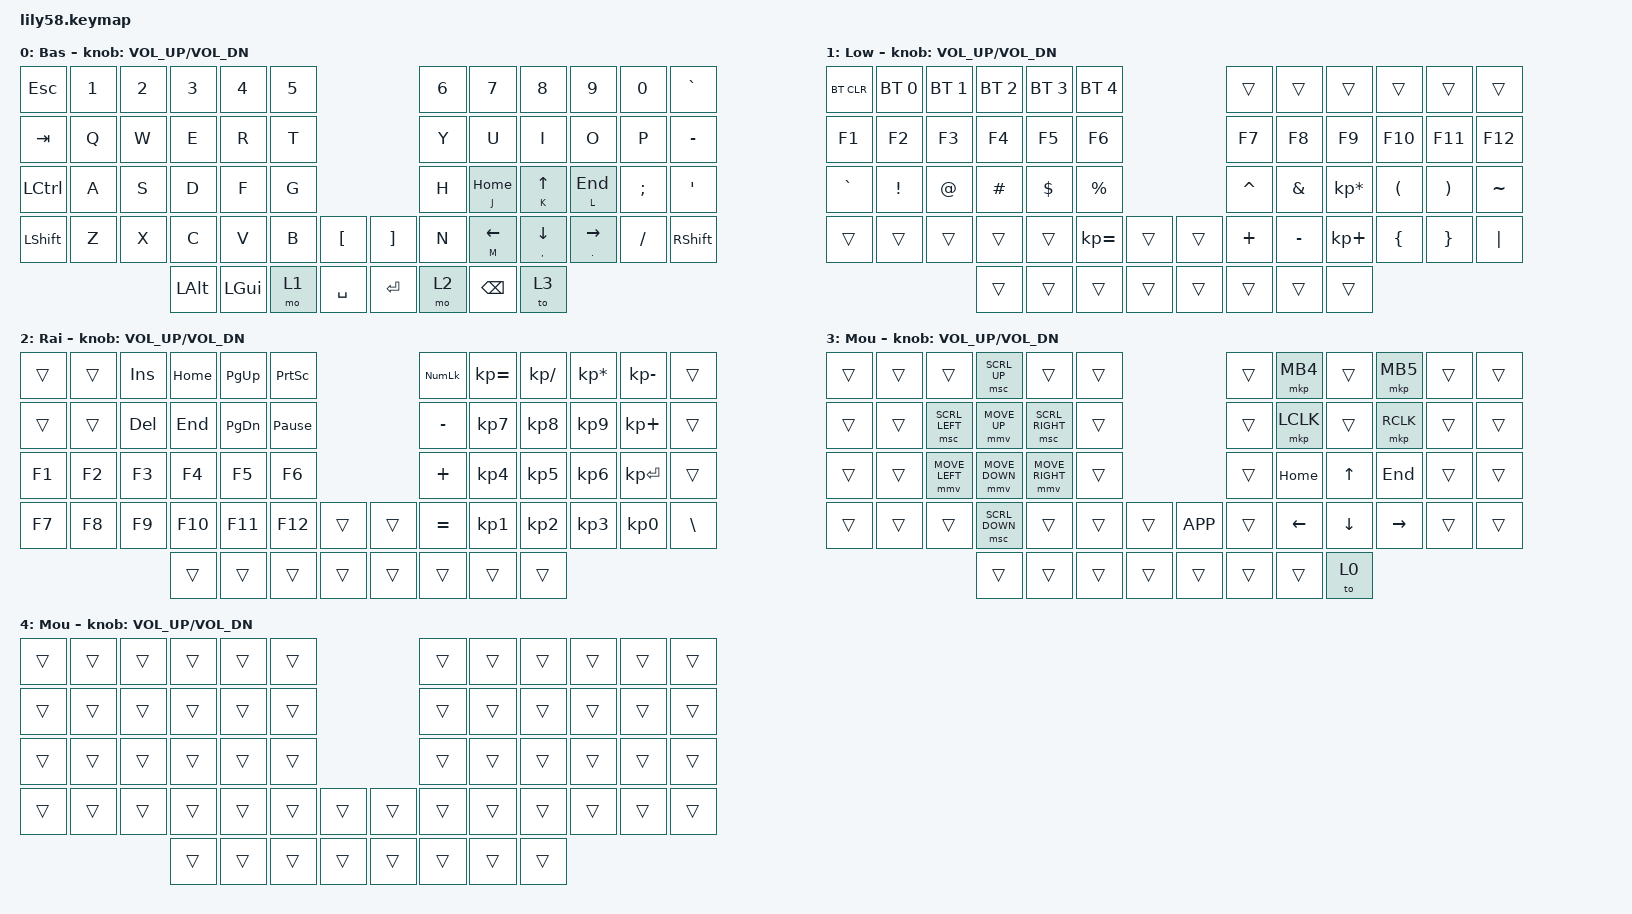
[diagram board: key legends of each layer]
/*
 * Copyright (c) 2020 The ZMK Contributors
 *
 * SPDX-License-Identifier: MIT
 */

#define ZMK_POINTING_DEFAULT_MOVE_VAL 1500
#define ZMK_POINTING_DEFAULT_SCRL_VAL 20

#include <behaviors.dtsi>
#include <dt-bindings/zmk/bt.h>
#include <dt-bindings/zmk/keys.h>
#include <dt-bindings/zmk/pointing.h>

/ {
    keymap {
        compatible = "zmk,keymap";

        default_layer {
            // ------------------------------------------------------------------------------------------------------------
            // |  ESC  |  1  |  2  |  3   |  4   |  5   |                   |  6   |  7    |  8    |  9   |   0   |   `   |
            // |  TAB  |  Q  |  W  |  E   |  R   |  T   |                   |  Y   |  U    |  I    |  O   |   P   |   -   |
            // |  CTRL |  A  |  S  |  D   |  F   |  G   |                   |  H   |  J    |  K    |  L   |   ;   |   '   |
            // | SHIFT |  Z  |  X  |  C   |  V   |  B   |   "["  |  |  "]"  |  N   |  M    |  ,    |  .   |   /   | SHIFT |
            //                     | ALT  | GUI  | LOWER|  SPACE |  | ENTER | RAISE| BSPC  | GUI   |

            display-name = "Bas";
            bindings = <
&kp ESC    &kp N1  &kp N2  &kp N3    &kp N4    &kp N5                         &kp N6  &kp N7            &kp N8                &kp N9               &kp N0    &kp GRAVE
&kp TAB    &kp Q   &kp W   &kp E     &kp R     &kp T                          &kp Y   &kp U             &kp I                 &kp O                &kp P     &kp MINUS
&kp LCTRL  &kp A   &kp S   &kp D     &kp F     &kp G                          &kp H   &mt J HOME        &mt K UP_ARROW        &mt L END            &kp SEMI  &kp SQT
&kp LSHFT  &kp Z   &kp X   &kp C     &kp V     &kp B   &kp LBKT     &kp RBKT  &kp N   &mt M LEFT_ARROW  &mt COMMA DOWN_ARROW  &mt DOT RIGHT_ARROW  &kp FSLH  &kp RSHFT
                           &kp LALT  &kp LGUI  &mo 1   &kp SPACE    &kp RET   &mo 2   &kp BSPC          &to 3
            >;

            sensor-bindings = <&inc_dec_kp C_VOL_UP C_VOL_DN>;
        };

        lower_layer {
            // ------------------------------------------------------------------------------------------------------------
            // | BTCLR | BT1 | BT2 |  BT3 |  BT4 |  BT5 |                   |      |       |       |      |       |       |
            // |  F1   |  F2 |  F3 |  F4  |  F5  |  F6  |                   |  F7  |  F8   |  F9   |  F10 |  F11  |  F12  |
            // |   `   |  !  |  @  |  #   |  $   |  %   |                   |  ^   |  &    |  *    |  (   |   )   |   ~   |
            // |       |     |     |      |      |      |        |  |       |      |  _    |  +    |  {   |   }   |  "|"  |
            //                     |      |      |      |        |  |       |      |       |       |

            display-name = "Low";
            bindings = <
&bt BT_CLR  &bt BT_SEL 0  &bt BT_SEL 1  &bt BT_SEL 2  &bt BT_SEL 3  &bt BT_SEL 4                    &trans     &trans     &trans           &trans    &trans    &trans
&kp F1      &kp F2        &kp F3        &kp F4        &kp F5        &kp F6                          &kp F7     &kp F8     &kp F9           &kp F10   &kp F11   &kp F12
&kp GRAVE   &kp EXCL      &kp AT        &kp HASH      &kp DOLLAR    &kp PRCNT                       &kp CARET  &kp AMPS   &kp KP_MULTIPLY  &kp LPAR  &kp RPAR  &kp TILDE
&trans      &trans        &trans        &trans        &trans        &kp KP_EQUAL  &trans    &trans  &kp PLUS   &kp MINUS  &kp KP_PLUS      &kp LBRC  &kp RBRC  &kp PIPE
                                        &trans        &trans        &trans        &trans    &trans  &trans     &trans     &trans
            >;

            sensor-bindings = <&inc_dec_kp C_VOL_UP C_VOL_DN>;
        };

        raise_layer {
            // ------------------------------------------------------------------------------------------------------------
            // |       |     |     |      |      |      |                   |      |       |       |      |       |       |
            // |   `   |  1  |  2  |  3   |  4   |  5   |                   |  6   |   7   |   8   |  9   |   0   |       |
            // |   F1  |  F2 |  F3 |  F4  |  F5  |  F6  |                   |      |   <-  |   v   |  ^   |  ->   |       |
            // |   F7  |  F8 |  F9 |  F10 |  F11 |  F12 |        |  |       |  +   |   -   |   =   |  [   |   ]   |   \   |
            //                     |      |      |      |        |  |       |      |       |       |

            display-name = "Rai";
            bindings = <
&trans  &trans  &kp INSERT  &kp HOME  &kp PAGE_UP    &kp PRINTSCREEN                    &kp KP_NUMLOCK  &kp KP_EQUAL     &kp KP_DIVIDE    &kp KP_ASTERISK  &kp KP_MINUS     &trans
&trans  &trans  &kp DELETE  &kp END   &kp PAGE_DOWN  &kp PAUSE_BREAK                    &kp MINUS       &kp KP_NUMBER_7  &kp KP_NUMBER_8  &kp KP_NUMBER_9  &kp KP_PLUS      &trans
&kp F1  &kp F2  &kp F3      &kp F4    &kp F5         &kp F6                             &kp PLUS        &kp KP_NUMBER_4  &kp KP_NUMBER_5  &kp KP_NUMBER_6  &kp KP_ENTER     &trans
&kp F7  &kp F8  &kp F9      &kp F10   &kp F11        &kp F12          &trans    &trans  &kp EQUAL       &kp KP_NUMBER_1  &kp KP_NUMBER_2  &kp KP_NUMBER_3  &kp KP_NUMBER_0  &kp BSLH
                            &trans    &trans         &trans           &trans    &trans  &trans          &trans           &trans
            >;

            sensor-bindings = <&inc_dec_kp C_VOL_UP C_VOL_DN>;
        };

        mouse_layer {
            // ------------------------------------------------------------------------------------------------------------
            // |       |     |     |      |      |      |                   |      |       |       |      |       |       |
            // |   `   |  1  |  2  |  3   |  4   |  5   |                   |  6   |   7   |   8   |  9   |   0   |       |
            // |   F1  |  F2 |  F3 |  F4  |  F5  |  F6  |                   |      |   <-  |   v   |  ^   |  ->   |       |
            // |   F7  |  F8 |  F9 |  F10 |  F11 |  F12 |        |  |       |  +   |   -   |   =   |  [   |   ]   |   \   |
            //                     |      |      |      |        |  |       |      |       |       |

            display-name = "Mou";
            bindings = <
&trans  &trans  &trans          &msc SCRL_UP    &trans           &trans                       &trans  &mkp MB4        &trans          &mkp MB5         &trans  &trans
&trans  &trans  &msc SCRL_LEFT  &mmv MOVE_UP    &msc SCRL_RIGHT  &trans                       &trans  &mkp LCLK       &trans          &mkp RCLK        &trans  &trans
&trans  &trans  &mmv MOVE_LEFT  &mmv MOVE_DOWN  &mmv MOVE_RIGHT  &trans                       &trans  &kp HOME        &kp UP_ARROW    &kp END          &trans  &trans
&trans  &trans  &trans          &msc SCRL_DOWN  &trans           &trans  &trans    &kp K_APP  &trans  &kp LEFT_ARROW  &kp DOWN_ARROW  &kp RIGHT_ARROW  &trans  &trans
                                &trans          &trans           &trans  &trans    &trans     &trans  &trans          &to 0
            >;

            sensor-bindings = <&inc_dec_kp C_VOL_UP C_VOL_DN>;
        };

        extra_2 {
            // ------------------------------------------------------------------------------------------------------------
            // |       |     |     |      |      |      |                   |      |       |       |      |       |       |
            // |   `   |  1  |  2  |  3   |  4   |  5   |                   |  6   |   7   |   8   |  9   |   0   |       |
            // |   F1  |  F2 |  F3 |  F4  |  F5  |  F6  |                   |      |   <-  |   v   |  ^   |  ->   |       |
            // |   F7  |  F8 |  F9 |  F10 |  F11 |  F12 |        |  |       |  +   |   -   |   =   |  [   |   ]   |   \   |
            //                     |      |      |      |        |  |       |      |       |       |

            display-name = "Mou";
            bindings = <
&trans  &trans  &trans  &trans  &trans  &trans                    &trans  &trans  &trans  &trans  &trans  &trans
&trans  &trans  &trans  &trans  &trans  &trans                    &trans  &trans  &trans  &trans  &trans  &trans
&trans  &trans  &trans  &trans  &trans  &trans                    &trans  &trans  &trans  &trans  &trans  &trans
&trans  &trans  &trans  &trans  &trans  &trans  &trans    &trans  &trans  &trans  &trans  &trans  &trans  &trans
                        &trans  &trans  &trans  &trans    &trans  &trans  &trans  &trans
            >;

            sensor-bindings = <&inc_dec_kp C_VOL_UP C_VOL_DN>;
        };

        extra_3 { status = "reserved"; };
    };
};
